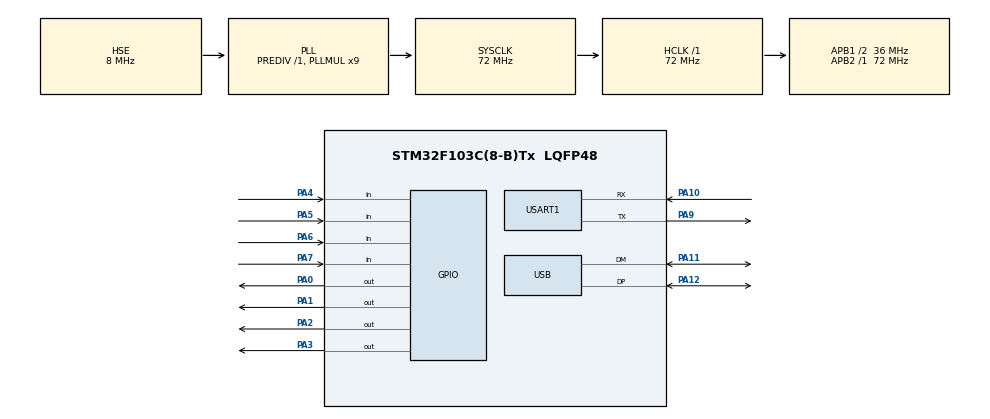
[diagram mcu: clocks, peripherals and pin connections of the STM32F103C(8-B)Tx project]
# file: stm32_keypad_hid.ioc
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Mcu.Family=STM32F1
Mcu.Name=STM32F103C(8-B)Tx
Mcu.Package=LQFP48
NVIC.PriorityGroup=NVIC_PRIORITYGROUP_4
NVIC.USB_LP_CAN1_RX0_IRQn=true\:0\:0\:false\:false\:true\:false
PA0-WKUP.Signal=GPIO_Output
PA1.Signal=GPIO_Output
PA10.Mode=Asynchronous
PA10.Signal=USART1_RX
PA11.Mode=Device
PA11.Signal=USB_DM
PA12.Mode=Device
PA12.Signal=USB_DP
PA2.Signal=GPIO_Output
PA3.Signal=GPIO_Output
PA4.GPIO_PuPd=GPIO_PULLUP
PA4.Signal=GPIO_Input
PA5.GPIO_PuPd=GPIO_PULLUP
PA5.Signal=GPIO_Input
PA6.GPIO_PuPd=GPIO_PULLUP
PA6.Signal=GPIO_Input
PA7.GPIO_PuPd=GPIO_PULLUP
PA7.Signal=GPIO_Input
PA9.Mode=Asynchronous
PA9.Signal=USART1_TX
PD0-OSC_IN.Mode=HSE-External-Oscillator
PD0-OSC_IN.Signal=RCC_OSC_IN
PD1-OSC_OUT.Mode=HSE-External-Oscillator
PD1-OSC_OUT.Signal=RCC_OSC_OUT
ProjectManager.HeapSize=0x200
ProjectManager.StackSize=0x400
ProjectManager.TargetToolchain=SW4STM32
RCC.AHBFreq_Value=72000000
RCC.APB1CLKDivider=RCC_HCLK_DIV2
RCC.APB1Freq_Value=36000000
RCC.APB1TimFreq_Value=72000000
RCC.APB2Freq_Value=72000000
RCC.APB2TimFreq_Value=72000000
RCC.HCLKFreq_Value=72000000
RCC.PLLMUL=RCC_PLL_MUL9
RCC.SYSCLKFreq_VALUE=72000000
RCC.SYSCLKSource=RCC_SYSCLKSOURCE_PLLCLK
RCC.USBFreq_Value=48000000
RCC.USBPrescaler=RCC_USBCLKSOURCE_PLL_DIV1_5
USART1.VirtualMode=VM_ASYNC
USB_DEVICE.CLASS_NAME_FS=HID
USB_DEVICE.VirtualMode=Hid
USB_DEVICE.VirtualModeFS=Hid_FS
VP_SYS_VS_ND.Mode=No_Debug
VP_USB_DEVICE_VS_USB_DEVICE_HID_FS.Mode=HID_FS
board=stm32_keypad_hid

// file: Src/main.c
/**
 ******************************************************************************
 * File Name          : main.c
 * Description        : Main program body
 ******************************************************************************
 * This notice applies to any and all portions of this file
 * that are not between comment pairs USER CODE BEGIN and
 * USER CODE END. Other portions of this file, whether
 * inserted by the user or by software development tools
 * are owned by their respective copyright owners.
 *
 * Copyright (c) 2018 STMicroelectronics International N.V.
 * All rights reserved.
 *
 * Redistribution and use in source and binary forms, with or without
 * modification, are permitted, provided that the following conditions are met:
 *
 * 1. Redistribution of source code must retain the above copyright notice,
 *    this list of conditions and the following disclaimer.
 * 2. Redistributions in binary form must reproduce the above copyright notice,
 *    this list of conditions and the following disclaimer in the documentation
 *    and/or other materials provided with the distribution.
 * 3. Neither the name of STMicroelectronics nor the names of other
 *    contributors to this software may be used to endorse or promote products
 *    derived from this software without specific written permission.
 * 4. This software, including modifications and/or derivative works of this
 *    software, must execute solely and exclusively on microcontroller or
 *    microprocessor devices manufactured by or for STMicroelectronics.
 * 5. Redistribution and use of this software other than as permitted under
 *    this license is void and will automatically terminate your rights under
 *    this license.
 *
 * THIS SOFTWARE IS PROVIDED BY STMICROELECTRONICS AND CONTRIBUTORS "AS IS"
 * AND ANY EXPRESS, IMPLIED OR STATUTORY WARRANTIES, INCLUDING, BUT NOT
 * LIMITED TO, THE IMPLIED WARRANTIES OF MERCHANTABILITY, FITNESS FOR A
 * PARTICULAR PURPOSE AND NON-INFRINGEMENT OF THIRD PARTY INTELLECTUAL PROPERTY
 * RIGHTS ARE DISCLAIMED TO THE FULLEST EXTENT PERMITTED BY LAW. IN NO EVENT
 * SHALL STMICROELECTRONICS OR CONTRIBUTORS BE LIABLE FOR ANY DIRECT, INDIRECT,
 * INCIDENTAL, SPECIAL, EXEMPLARY, OR CONSEQUENTIAL DAMAGES (INCLUDING, BUT NOT
 * LIMITED TO, PROCUREMENT OF SUBSTITUTE GOODS OR SERVICES; LOSS OF USE, DATA,
 * OR PROFITS; OR BUSINESS INTERRUPTION) HOWEVER CAUSED AND ON ANY THEORY OF
 * LIABILITY, WHETHER IN CONTRACT, STRICT LIABILITY, OR TORT (INCLUDING
 * NEGLIGENCE OR OTHERWISE) ARISING IN ANY WAY OUT OF THE USE OF THIS SOFTWARE,
 * EVEN IF ADVISED OF THE POSSIBILITY OF SUCH DAMAGE.
 *
 ******************************************************************************
 */

#include "main.h"
#include "stm32f1xx_hal.h"
#include "usb_device.h"

/* USER CODE BEGIN Includes */
#include <stdbool.h>
#include <string.h>
#include "keypad/Keypad.h"
#include "keypad/config.h"

/* USER CODE END Includes */

UART_HandleTypeDef huart1;

/* USER CODE BEGIN PV */
/* Private variables ---------------------------------------------------------*/
#define KEY_A 0x04 // Keyboard a and A
#define KEY_B 0x05 // Keyboard b and B
#define KEY_C 0x06 // Keyboard c and C
#define KEY_D 0x07 // Keyboard d and D
#define KEY_E 0x08 // Keyboard e and E

#define KEY_1 0x1e // Keyboard 1 and !
#define KEY_2 0x1f // Keyboard 2 and @
#define KEY_3 0x20 // Keyboard 3 and #
#define KEY_4 0x21 // Keyboard 4 and $
#define KEY_5 0x22 // Keyboard 5 and %
#define KEY_6 0x23 // Keyboard 6 and ^
#define KEY_7 0x24 // Keyboard 7 and &
#define KEY_8 0x25 // Keyboard 8 and *
#define KEY_9 0x26 // Keyboard 9 and (
#define KEY_0 0x27 // Keyboard 0 and )

#define KEY_MOD_RSHIFT 0x20 // Keyboard Right Shift

/* USER CODE END PV */

void SystemClock_Config(void);
static void MX_GPIO_Init(void);
static void MX_USART1_UART_Init(void);

/* USER CODE BEGIN PFP */
/* Private function prototypes -----------------------------------------------*/

/* USER CODE END PFP */

/* USER CODE BEGIN 0 */
extern USBD_HandleTypeDef hUsbDeviceFS;

typedef struct keyboardreport_t {
	uint8_t modifier;
	const uint8_t reserved;
	uint8_t keypress_0;
} KeyboardReport;

/* USER CODE END 0 */

int main(void) {

	/* MCU Configuration----------------------------------------------------------*/

	/* Reset of all peripherals, Initializes the Flash interface and the Systick. */
	HAL_Init();

	/* Configure the system clock */
	SystemClock_Config();

	/* Initialize all configured peripherals */
	MX_GPIO_Init();
	MX_USART1_UART_Init();
	MX_USB_DEVICE_Init();

	/* USER CODE BEGIN 2 */
	Keypad keypad;
	keypad._write_row = _write_row;
	keypad._read_col = _read_col;
	keypad._get_ms_tick = _get_ms_tick;
	keypad_init(&keypad, keymap);

	KeyboardReport report = { 0 };

	/* USER CODE END 2 */

	/* Infinite loop */
	/* USER CODE BEGIN WHILE */
	while (1) {
		if (keypad_getchar(&keypad)) {

			switch (keypad.keypress) {
			case '0':
				report.keypress_0 = KEY_0;
				break;
			case '1':
				report.keypress_0 = KEY_1;
				break;
			case '2':
				report.keypress_0 = KEY_2;
				break;
			case '3':
				report.keypress_0 = KEY_3;
				break;
			case '4':
				report.keypress_0 = KEY_4;
				break;
			case '5':
				report.keypress_0 = KEY_5;
				break;
			case '6':
				report.keypress_0 = KEY_6;
				break;
			case '7':
				report.keypress_0 = KEY_7;
				break;
			case '8':
				report.keypress_0 = KEY_8;
				break;
			case '9':
				report.keypress_0 = KEY_9;
				break;
			case 'A':
				report.modifier = KEY_MOD_RSHIFT;
				report.keypress_0 = KEY_A;
				break;
			case 'B':
				report.modifier = KEY_MOD_RSHIFT;
				report.keypress_0 = KEY_B;
				break;
			case 'C':
				report.modifier = KEY_MOD_RSHIFT;
				report.keypress_0 = KEY_C;
				break;
			case 'D':
				report.modifier = KEY_MOD_RSHIFT;
				report.keypress_0 = KEY_D;
				break;
			case 'E':
				report.modifier = KEY_MOD_RSHIFT;
				report.keypress_0 = KEY_E;
				break;
			case '*':
				report.modifier = KEY_MOD_RSHIFT;
				report.keypress_0 = KEY_8;
				break;
			case '#':
				report.modifier = KEY_MOD_RSHIFT;
				report.keypress_0 = KEY_3;
				break;
			default:
				break;
			}
			USBD_HID_SendReport(&hUsbDeviceFS, &report, sizeof(KeyboardReport));
			HAL_Delay(30);
		} else {
			report.modifier = 0;
			report.keypress_0 = 0;
			USBD_HID_SendReport(&hUsbDeviceFS, &report, sizeof(KeyboardReport));
			HAL_Delay(30);
		}

		/* USER CODE END WHILE */

	}

}

/** System Clock Configuration
 */
void SystemClock_Config(void) {

	RCC_OscInitTypeDef RCC_OscInitStruct;
	RCC_ClkInitTypeDef RCC_ClkInitStruct;
	RCC_PeriphCLKInitTypeDef PeriphClkInit;

	/**Initializes the CPU, AHB and APB busses clocks
	 */
	RCC_OscInitStruct.OscillatorType = RCC_OSCILLATORTYPE_HSE;
	RCC_OscInitStruct.HSEState = RCC_HSE_ON;
	RCC_OscInitStruct.HSEPredivValue = RCC_HSE_PREDIV_DIV1;
	RCC_OscInitStruct.HSIState = RCC_HSI_ON;
	RCC_OscInitStruct.PLL.PLLState = RCC_PLL_ON;
	RCC_OscInitStruct.PLL.PLLSource = RCC_PLLSOURCE_HSE;
	RCC_OscInitStruct.PLL.PLLMUL = RCC_PLL_MUL9;
	if (HAL_RCC_OscConfig(&RCC_OscInitStruct) != HAL_OK) {
		_Error_Handler(__FILE__, __LINE__);
	}

	/**Initializes the CPU, AHB and APB busses clocks
	 */
	RCC_ClkInitStruct.ClockType = RCC_CLOCKTYPE_HCLK | RCC_CLOCKTYPE_SYSCLK
			| RCC_CLOCKTYPE_PCLK1 | RCC_CLOCKTYPE_PCLK2;
	RCC_ClkInitStruct.SYSCLKSource = RCC_SYSCLKSOURCE_PLLCLK;
	RCC_ClkInitStruct.AHBCLKDivider = RCC_SYSCLK_DIV1;
	RCC_ClkInitStruct.APB1CLKDivider = RCC_HCLK_DIV2;
	RCC_ClkInitStruct.APB2CLKDivider = RCC_HCLK_DIV1;

	if (HAL_RCC_ClockConfig(&RCC_ClkInitStruct, FLASH_LATENCY_2) != HAL_OK) {
		_Error_Handler(__FILE__, __LINE__);
	}

	PeriphClkInit.PeriphClockSelection = RCC_PERIPHCLK_USB;
	PeriphClkInit.UsbClockSelection = RCC_USBCLKSOURCE_PLL_DIV1_5;
	if (HAL_RCCEx_PeriphCLKConfig(&PeriphClkInit) != HAL_OK) {
		_Error_Handler(__FILE__, __LINE__);
	}

	/**Configure the Systick interrupt time
	 */
	HAL_SYSTICK_Config(HAL_RCC_GetHCLKFreq() / 1000);

	/**Configure the Systick
	 */
	HAL_SYSTICK_CLKSourceConfig(SYSTICK_CLKSOURCE_HCLK);

	/* SysTick_IRQn interrupt configuration */
	HAL_NVIC_SetPriority(SysTick_IRQn, 0, 0);
}

/* USART1 init function */
static void MX_USART1_UART_Init(void) {

	huart1.Instance = USART1;
	huart1.Init.BaudRate = 115200;
	huart1.Init.WordLength = UART_WORDLENGTH_8B;
	huart1.Init.StopBits = UART_STOPBITS_1;
	huart1.Init.Parity = UART_PARITY_NONE;
	huart1.Init.Mode = UART_MODE_TX_RX;
	huart1.Init.HwFlowCtl = UART_HWCONTROL_NONE;
	huart1.Init.OverSampling = UART_OVERSAMPLING_16;
	if (HAL_UART_Init(&huart1) != HAL_OK) {
		_Error_Handler(__FILE__, __LINE__);
	}

}

/** Configure pins as
 * Analog
 * Input
 * Output
 * EVENT_OUT
 * EXTI
 */
static void MX_GPIO_Init(void) {

	GPIO_InitTypeDef GPIO_InitStruct;

	/* GPIO Ports Clock Enable */
	__HAL_RCC_GPIOD_CLK_ENABLE()
	;
	__HAL_RCC_GPIOA_CLK_ENABLE()
	;

	/*Configure GPIO pin Output Level */
	HAL_GPIO_WritePin(GPIOA, GPIO_PIN_0 | GPIO_PIN_1 | GPIO_PIN_2 | GPIO_PIN_3,
			GPIO_PIN_RESET);

	/*Configure GPIO pins : PA0 PA1 PA2 PA3 */
	GPIO_InitStruct.Pin = GPIO_PIN_0 | GPIO_PIN_1 | GPIO_PIN_2 | GPIO_PIN_3;
	GPIO_InitStruct.Mode = GPIO_MODE_OUTPUT_PP;
	GPIO_InitStruct.Speed = GPIO_SPEED_FREQ_LOW;
	HAL_GPIO_Init(GPIOA, &GPIO_InitStruct);

	/*Configure GPIO pins : PA4 PA5 PA6 PA7 */
	GPIO_InitStruct.Pin = GPIO_PIN_4 | GPIO_PIN_5 | GPIO_PIN_6 | GPIO_PIN_7;
	GPIO_InitStruct.Mode = GPIO_MODE_INPUT;
	GPIO_InitStruct.Pull = GPIO_PULLUP;
	HAL_GPIO_Init(GPIOA, &GPIO_InitStruct);

}

void _Error_Handler(char * file, int line) {
	while (1) {
	}
}

/************************ (C) COPYRIGHT STMicroelectronics *****END OF FILE****/
